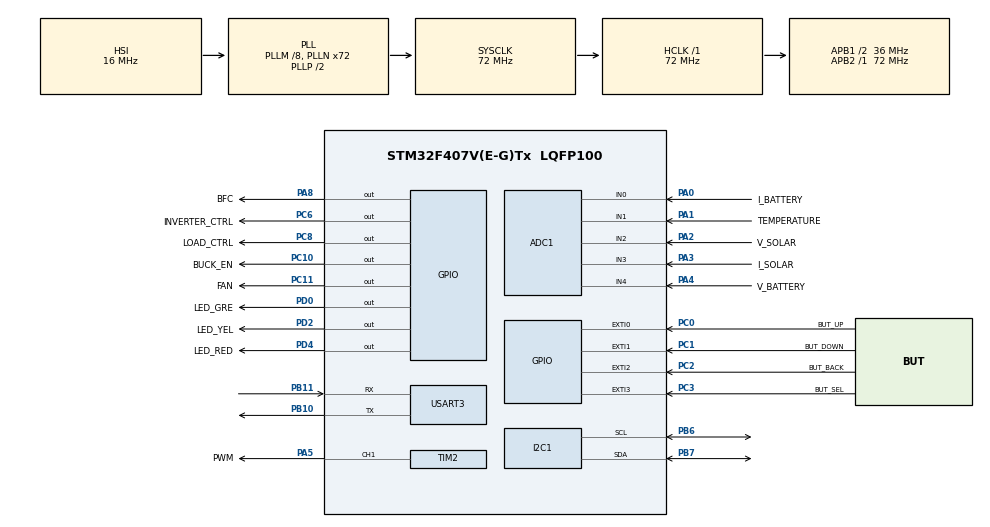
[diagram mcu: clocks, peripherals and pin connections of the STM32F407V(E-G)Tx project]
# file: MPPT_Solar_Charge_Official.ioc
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ADC1.Channel-0\#ChannelRegularConversion=ADC_CHANNEL_0
ADC1.Channel-1\#ChannelRegularConversion=ADC_CHANNEL_1
ADC1.Channel-2\#ChannelRegularConversion=ADC_CHANNEL_2
ADC1.Channel-3\#ChannelRegularConversion=ADC_CHANNEL_3
ADC1.Channel-4\#ChannelRegularConversion=ADC_CHANNEL_4
ADC1.ClockPrescaler=ADC_CLOCK_SYNC_PCLK_DIV8
ADC1.ContinuousConvMode=ENABLE
ADC1.EOCSelection=ADC_EOC_SEQ_CONV
ADC1.NbrOfConversion=5
ADC1.NbrOfConversionFlag=1
ADC1.Rank-0\#ChannelRegularConversion=1
ADC1.Rank-1\#ChannelRegularConversion=2
ADC1.Rank-2\#ChannelRegularConversion=3
ADC1.Rank-3\#ChannelRegularConversion=4
ADC1.Rank-4\#ChannelRegularConversion=5
ADC1.SamplingTime-0\#ChannelRegularConversion=ADC_SAMPLETIME_480CYCLES
ADC1.SamplingTime-1\#ChannelRegularConversion=ADC_SAMPLETIME_480CYCLES
ADC1.SamplingTime-2\#ChannelRegularConversion=ADC_SAMPLETIME_480CYCLES
ADC1.SamplingTime-3\#ChannelRegularConversion=ADC_SAMPLETIME_480CYCLES
ADC1.SamplingTime-4\#ChannelRegularConversion=ADC_SAMPLETIME_480CYCLES
ADC1.ScanConvMode=ENABLE
ADC1.master=1
Dma.ADC1.0.Direction=DMA_PERIPH_TO_MEMORY
Dma.ADC1.0.FIFOMode=DMA_FIFOMODE_DISABLE
Dma.ADC1.0.Instance=DMA2_Stream0
Dma.ADC1.0.MemDataAlignment=DMA_MDATAALIGN_WORD
Dma.ADC1.0.MemInc=DMA_MINC_ENABLE
Dma.ADC1.0.Mode=DMA_CIRCULAR
Dma.ADC1.0.PeriphDataAlignment=DMA_PDATAALIGN_WORD
Dma.ADC1.0.PeriphInc=DMA_PINC_DISABLE
Dma.ADC1.0.Priority=DMA_PRIORITY_LOW
Dma.Request0=ADC1
IWDG.Prescaler=IWDG_PRESCALER_64
IWDG.Reload=4095
Mcu.Family=STM32F4
Mcu.Name=STM32F407V(E-G)Tx
Mcu.Package=LQFP100
NVIC.DMA2_Stream0_IRQn=true\:0\:0\:false\:false\:true\:false\:true\:true
NVIC.EXTI0_IRQn=true\:0\:0\:false\:false\:true\:true\:true\:true
NVIC.EXTI1_IRQn=true\:0\:0\:false\:false\:true\:true\:true\:true
NVIC.EXTI2_IRQn=true\:0\:0\:false\:false\:true\:true\:true\:true
NVIC.EXTI3_IRQn=true\:0\:0\:false\:false\:true\:true\:true\:true
NVIC.PriorityGroup=NVIC_PRIORITYGROUP_4
PA0-WKUP.GPIO_Label=I_BATTERY
PA0-WKUP.Signal=ADCx_IN0
PA1.GPIO_Label=TEMPERATURE
PA1.Signal=ADCx_IN1
PA13.Mode=Serial_Wire
PA13.Signal=SYS_JTMS-SWDIO
PA14.Mode=Serial_Wire
PA14.Signal=SYS_JTCK-SWCLK
PA2.GPIO_Label=V_SOLAR
PA2.Signal=ADCx_IN2
PA3.GPIO_Label=I_SOLAR
PA3.Signal=ADCx_IN3
PA4.GPIO_Label=V_BATTERY
PA4.Signal=ADCx_IN4
PA5.GPIO_Label=PWM
PA5.Signal=S_TIM2_CH1_ETR
PA8.GPIO_Label=BFC
PA8.PinState=GPIO_PIN_SET
PA8.Signal=GPIO_Output
PB10.Mode=Asynchronous
PB10.Signal=USART3_TX
PB11.Mode=Asynchronous
PB11.Signal=USART3_RX
PB6.Mode=I2C
PB6.Signal=I2C1_SCL
PB7.Mode=I2C
PB7.Signal=I2C1_SDA
PC0.GPIO_Label=BUT_UP
PC0.GPIO_ModeDefaultEXTI=GPIO_MODE_IT_FALLING
PC0.GPIO_PuPd=GPIO_PULLUP
PC0.Signal=GPXTI0
PC1.GPIO_Label=BUT_DOWN
PC1.GPIO_ModeDefaultEXTI=GPIO_MODE_IT_FALLING
PC1.GPIO_PuPd=GPIO_PULLUP
PC1.Signal=GPXTI1
PC10.GPIO_Label=BUCK_EN
PC10.PinState=GPIO_PIN_SET
PC10.Signal=GPIO_Output
PC11.GPIO_Label=FAN
PC11.PinState=GPIO_PIN_SET
PC11.Signal=GPIO_Output
PC2.GPIO_Label=BUT_BACK
PC2.GPIO_ModeDefaultEXTI=GPIO_MODE_IT_FALLING
PC2.GPIO_PuPd=GPIO_PULLUP
PC2.Signal=GPXTI2
PC3.GPIO_Label=BUT_SEL
PC3.GPIO_ModeDefaultEXTI=GPIO_MODE_IT_FALLING
PC3.GPIO_PuPd=GPIO_PULLUP
PC3.Signal=GPXTI3
PC6.GPIO_Label=INVERTER_CTRL
PC6.PinState=GPIO_PIN_SET
PC6.Signal=GPIO_Output
PC8.GPIO_Label=LOAD_CTRL
PC8.PinState=GPIO_PIN_SET
PC8.Signal=GPIO_Output
PD0.GPIO_Label=LED_GRE
PD0.PinState=GPIO_PIN_SET
PD0.Signal=GPIO_Output
PD2.GPIO_Label=LED_YEL
PD2.PinState=GPIO_PIN_SET
PD2.Signal=GPIO_Output
PD4.GPIO_Label=LED_RED
PD4.PinState=GPIO_PIN_SET
PD4.Signal=GPIO_Output
ProjectManager.HeapSize=0x200
ProjectManager.StackSize=0x400
ProjectManager.TargetToolchain=STM32CubeIDE
RCC.48MHZClocksFreq_Value=36000000
RCC.AHBFreq_Value=72000000
RCC.APB1CLKDivider=RCC_HCLK_DIV2
RCC.APB1Freq_Value=36000000
RCC.APB1TimFreq_Value=72000000
RCC.APB2Freq_Value=72000000
RCC.APB2TimFreq_Value=72000000
RCC.CortexFreq_Value=72000000
RCC.HCLKFreq_Value=72000000
RCC.HSE_VALUE=25000000
RCC.HSI_VALUE=16000000
RCC.LSE_VALUE=32768
RCC.PLLM=8
RCC.PLLN=72
RCC.SYSCLKFreq_VALUE=72000000
RCC.SYSCLKSource=RCC_SYSCLKSOURCE_PLLCLK
RCC.VCOOutputFreq_Value=144000000
RTC.SynchPrediv=249
SH.ADCx_IN0.0=ADC1_IN0,IN0
SH.ADCx_IN1.0=ADC1_IN1,IN1
SH.ADCx_IN2.0=ADC1_IN2,IN2
SH.ADCx_IN3.0=ADC1_IN3,IN3
SH.ADCx_IN4.0=ADC1_IN4,IN4
SH.S_TIM2_CH1_ETR.0=TIM2_CH1,PWM Generation1 CH1
TIM2.AutoReloadPreload=TIM_AUTORELOAD_PRELOAD_ENABLE
TIM2.Channel-PWM\ Generation1\ CH1=TIM_CHANNEL_1
TIM2.Period=3600
USART3.VirtualMode=VM_ASYNC
VP_IWDG_VS_IWDG.Mode=IWDG_Activate
VP_RTC_VS_RTC_Activate.Mode=RTC_Enabled
VP_RTC_VS_RTC_Calendar.Mode=RTC_Calendar
VP_TIM2_VS_ClockSourceINT.Mode=Internal
board=custom

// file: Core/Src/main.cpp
/* USER CODE BEGIN Header */
/**
 ******************************************************************************
 * @file           : main.c
 * @brief          : Main program body
 ******************************************************************************
 * @attention
 *
 * Copyright (c) 2024 STMicroelectronics.
 * All rights reserved.
 *
 * This software is licensed under terms that can be found in the LICENSE file
 * in the root directory of this software component.
 * If no LICENSE file comes with this software, it is provided AS-IS.
 *
 ******************************************************************************
 */
/* USER CODE END Header */
#include "main.h"

/* USER CODE BEGIN Includes */
#include "Log.h"
#include "Button.h"
#include "Analog.h"
#include "ChargeControl.h"
#include "SerialMonitor.h"
#include "TestLcd.h"
#include "Rtc.h"
/* USER CODE END Includes */

ADC_HandleTypeDef hadc1;
DMA_HandleTypeDef hdma_adc1;

I2C_HandleTypeDef hi2c1;

IWDG_HandleTypeDef hiwdg;

RTC_HandleTypeDef hrtc;

TIM_HandleTypeDef htim2;

UART_HandleTypeDef huart3;

void SystemClock_Config(void);
static void MX_GPIO_Init(void);
static void MX_DMA_Init(void);
static void MX_ADC1_Init(void);
static void MX_IWDG_Init(void);
static void MX_I2C1_Init(void);
static void MX_TIM2_Init(void);
static void MX_USART3_UART_Init(void);
static void MX_RTC_Init(void);
/* USER CODE BEGIN PFP */
void HAL_GPIO_EXTI_Callback(uint16_t GPIO_pin)
{
    GPIO_TypeDef *pGPIOx = nullptr;
    static blib::Button::ButtonName lastedPressButton = blib::Button::ButtonName::UNDEFINED;
    uint32_t timedelay = 1440000;

    for (volatile uint32_t i = 0; i < timedelay; i++);

    volatile uint32_t i = 0;

    if (GPIO_pin == BUT_UP_Pin)
    {
        LOGI("Button Up pin");
        lastedPressButton = blib::Button::ButtonName::UP;
        pGPIOx = BUT_UP_GPIO_Port;
    }
    else if (GPIO_pin == BUT_DOWN_Pin)
    {
        LOGI("Button Down pin");
        lastedPressButton = blib::Button::ButtonName::DOWN;
        pGPIOx = BUT_DOWN_GPIO_Port;
    }
    else if (GPIO_pin == BUT_BACK_Pin)
    {
        LOGI("Button Back pin");
        lastedPressButton = blib::Button::ButtonName::BACK;
        pGPIOx = BUT_BACK_GPIO_Port;
    }
    else if (GPIO_pin == BUT_SEL_Pin)
    {
        LOGI("Button Select pin");
        lastedPressButton = blib::Button::ButtonName::SEL;
        pGPIOx = BUT_SEL_GPIO_Port;
    }
    else
    {
        LOGI("Undefined Exti Signal");
    }

    blib::Button::getInstance().setLatestPressedButton(lastedPressButton);
    blib::Button::getInstance().handleSignal();

    if (pGPIOx != nullptr)
    {
        while ((HAL_GPIO_ReadPin(pGPIOx, GPIO_pin) == GPIO_PIN_RESET) && (i < (timedelay)))
        {
            i++;
        }
    }

    for (volatile uint32_t i = 0; i < timedelay; i++);

    __HAL_GPIO_EXTI_CLEAR_FLAG(GPIO_pin);
}

void HAL_ADC_ConvCpltCallback(ADC_HandleTypeDef *hadc)
{
    blib::Analog::getInstance().sampling();
}

/* USER CODE END PFP */

int main(void)
{

    /* MCU Configuration--------------------------------------------------------*/

    /* Reset of all peripherals, Initializes the Flash interface and the Systick. */
    HAL_Init();

    /* Configure the system clock */
    SystemClock_Config();

    /* Initialize all configured peripherals */
    MX_GPIO_Init();
    MX_DMA_Init();
    MX_ADC1_Init();
    MX_IWDG_Init();
    MX_I2C1_Init();
    MX_TIM2_Init();
    MX_USART3_UART_Init();
    MX_RTC_Init();
    /* USER CODE BEGIN 2 */
    LOGI("MPPT SOLAR CHARGE CONTROLLER");
    LOGI("DESIGNED BY ");
    LOGI("STARTING DEVICE...");

    blib::Rtc rtc;
    rtc.setTime(0, 0, 1, 5, 24);

    auto &analog = blib::Analog::getInstance();
    auto &devProtection = blib::DeviceProtection::getInstance();
    auto &chargeCtrl = blib::ChargeControl::getInstance();
    auto &lcdSimulate = blib::LcdSimulate::getInstance();
    auto &serialMnt = blib::SerialMonitor::getInstance();
    /* USER CODE END 2 */

    /* Infinite loop */
    while (1)
    {

        /* USER CODE BEGIN 3 */
        analog.readAnalog();
        devProtection.run();
        chargeCtrl.run();
        serialMnt.show();
        lcdSimulate.run();
        HAL_Delay(500);
        HAL_IWDG_Refresh(&hiwdg);
    }
    /* USER CODE END 3 */
}

void SystemClock_Config(void)
{
    RCC_OscInitTypeDef RCC_OscInitStruct = { 0 };
    RCC_ClkInitTypeDef RCC_ClkInitStruct = { 0 };

    /** Configure the main internal regulator output voltage
     */
    __HAL_RCC_PWR_CLK_ENABLE();
    __HAL_PWR_VOLTAGESCALING_CONFIG(PWR_REGULATOR_VOLTAGE_SCALE1);

    /** Initializes the RCC Oscillators according to the specified parameters
     * in the RCC_OscInitTypeDef structure.
     */
    RCC_OscInitStruct.OscillatorType = RCC_OSCILLATORTYPE_HSI | RCC_OSCILLATORTYPE_LSI;
    RCC_OscInitStruct.HSIState = RCC_HSI_ON;
    RCC_OscInitStruct.HSICalibrationValue = RCC_HSICALIBRATION_DEFAULT;
    RCC_OscInitStruct.LSIState = RCC_LSI_ON;
    RCC_OscInitStruct.PLL.PLLState = RCC_PLL_ON;
    RCC_OscInitStruct.PLL.PLLSource = RCC_PLLSOURCE_HSI;
    RCC_OscInitStruct.PLL.PLLM = 8;
    RCC_OscInitStruct.PLL.PLLN = 72;
    RCC_OscInitStruct.PLL.PLLP = RCC_PLLP_DIV2;
    RCC_OscInitStruct.PLL.PLLQ = 4;
    if (HAL_RCC_OscConfig(&RCC_OscInitStruct) != HAL_OK)
    {
        Error_Handler();
    }

    /** Initializes the CPU, AHB and APB buses clocks
     */
    RCC_ClkInitStruct.ClockType = RCC_CLOCKTYPE_HCLK | RCC_CLOCKTYPE_SYSCLK | RCC_CLOCKTYPE_PCLK1
            | RCC_CLOCKTYPE_PCLK2;
    RCC_ClkInitStruct.SYSCLKSource = RCC_SYSCLKSOURCE_PLLCLK;
    RCC_ClkInitStruct.AHBCLKDivider = RCC_SYSCLK_DIV1;
    RCC_ClkInitStruct.APB1CLKDivider = RCC_HCLK_DIV2;
    RCC_ClkInitStruct.APB2CLKDivider = RCC_HCLK_DIV1;

    if (HAL_RCC_ClockConfig(&RCC_ClkInitStruct, FLASH_LATENCY_2) != HAL_OK)
    {
        Error_Handler();
    }
}

static void MX_ADC1_Init(void)
{

    ADC_ChannelConfTypeDef sConfig = { 0 };

    /** Configure the global features of the ADC (Clock, Resolution, Data Alignment and number of conversion)
     */
    hadc1.Instance = ADC1;
    hadc1.Init.ClockPrescaler = ADC_CLOCK_SYNC_PCLK_DIV8;
    hadc1.Init.Resolution = ADC_RESOLUTION_12B;
    hadc1.Init.ScanConvMode = ENABLE;
    hadc1.Init.ContinuousConvMode = ENABLE;
    hadc1.Init.DiscontinuousConvMode = DISABLE;
    hadc1.Init.ExternalTrigConvEdge = ADC_EXTERNALTRIGCONVEDGE_NONE;
    hadc1.Init.ExternalTrigConv = ADC_SOFTWARE_START;
    hadc1.Init.DataAlign = ADC_DATAALIGN_RIGHT;
    hadc1.Init.NbrOfConversion = 5;
    hadc1.Init.DMAContinuousRequests = DISABLE;
    hadc1.Init.EOCSelection = ADC_EOC_SEQ_CONV;
    if (HAL_ADC_Init(&hadc1) != HAL_OK)
    {
        Error_Handler();
    }

    /** Configure for the selected ADC regular channel its corresponding rank in the sequencer and its sample time.
     */
    sConfig.Channel = ADC_CHANNEL_0;
    sConfig.Rank = 1;
    sConfig.SamplingTime = ADC_SAMPLETIME_480CYCLES;
    if (HAL_ADC_ConfigChannel(&hadc1, &sConfig) != HAL_OK)
    {
        Error_Handler();
    }

    /** Configure for the selected ADC regular channel its corresponding rank in the sequencer and its sample time.
     */
    sConfig.Channel = ADC_CHANNEL_1;
    sConfig.Rank = 2;
    if (HAL_ADC_ConfigChannel(&hadc1, &sConfig) != HAL_OK)
    {
        Error_Handler();
    }

    /** Configure for the selected ADC regular channel its corresponding rank in the sequencer and its sample time.
     */
    sConfig.Channel = ADC_CHANNEL_2;
    sConfig.Rank = 3;
    if (HAL_ADC_ConfigChannel(&hadc1, &sConfig) != HAL_OK)
    {
        Error_Handler();
    }

    /** Configure for the selected ADC regular channel its corresponding rank in the sequencer and its sample time.
     */
    sConfig.Channel = ADC_CHANNEL_3;
    sConfig.Rank = 4;
    if (HAL_ADC_ConfigChannel(&hadc1, &sConfig) != HAL_OK)
    {
        Error_Handler();
    }

    /** Configure for the selected ADC regular channel its corresponding rank in the sequencer and its sample time.
     */
    sConfig.Channel = ADC_CHANNEL_4;
    sConfig.Rank = 5;
    if (HAL_ADC_ConfigChannel(&hadc1, &sConfig) != HAL_OK)
    {
        Error_Handler();
    }

}

static void MX_I2C1_Init(void)
{

    hi2c1.Instance = I2C1;
    hi2c1.Init.ClockSpeed = 100000;
    hi2c1.Init.DutyCycle = I2C_DUTYCYCLE_2;
    hi2c1.Init.OwnAddress1 = 0;
    hi2c1.Init.AddressingMode = I2C_ADDRESSINGMODE_7BIT;
    hi2c1.Init.DualAddressMode = I2C_DUALADDRESS_DISABLE;
    hi2c1.Init.OwnAddress2 = 0;
    hi2c1.Init.GeneralCallMode = I2C_GENERALCALL_DISABLE;
    hi2c1.Init.NoStretchMode = I2C_NOSTRETCH_DISABLE;
    if (HAL_I2C_Init(&hi2c1) != HAL_OK)
    {
        Error_Handler();
    }

}

static void MX_IWDG_Init(void)
{

    hiwdg.Instance = IWDG;
    hiwdg.Init.Prescaler = IWDG_PRESCALER_64;
    hiwdg.Init.Reload = 4095;
    if (HAL_IWDG_Init(&hiwdg) != HAL_OK)
    {
        Error_Handler();
    }

}

static void MX_RTC_Init(void)
{

    RTC_TimeTypeDef sTime = { 0 };
    RTC_DateTypeDef sDate = { 0 };

    /** Initialize RTC Only
     */
    hrtc.Instance = RTC;
    hrtc.Init.HourFormat = RTC_HOURFORMAT_24;
    hrtc.Init.AsynchPrediv = 127;
    hrtc.Init.SynchPrediv = 249;
    hrtc.Init.OutPut = RTC_OUTPUT_DISABLE;
    hrtc.Init.OutPutPolarity = RTC_OUTPUT_POLARITY_HIGH;
    hrtc.Init.OutPutType = RTC_OUTPUT_TYPE_OPENDRAIN;
    if (HAL_RTC_Init(&hrtc) != HAL_OK)
    {
        Error_Handler();
    }

    /** Initialize RTC and set the Time and Date
     */
    sTime.Hours = 0x0;
    sTime.Minutes = 0x0;
    sTime.Seconds = 0x0;
    sTime.DayLightSaving = RTC_DAYLIGHTSAVING_NONE;
    sTime.StoreOperation = RTC_STOREOPERATION_RESET;
    if (HAL_RTC_SetTime(&hrtc, &sTime, RTC_FORMAT_BCD) != HAL_OK)
    {
        Error_Handler();
    }
    sDate.WeekDay = RTC_WEEKDAY_MONDAY;
    sDate.Month = RTC_MONTH_JANUARY;
    sDate.Date = 0x1;
    sDate.Year = 0x0;

    if (HAL_RTC_SetDate(&hrtc, &sDate, RTC_FORMAT_BCD) != HAL_OK)
    {
        Error_Handler();
    }

}

static void MX_TIM2_Init(void)
{

    TIM_ClockConfigTypeDef sClockSourceConfig = { 0 };
    TIM_MasterConfigTypeDef sMasterConfig = { 0 };
    TIM_OC_InitTypeDef sConfigOC = { 0 };

    htim2.Instance = TIM2;
    htim2.Init.Prescaler = 0;
    htim2.Init.CounterMode = TIM_COUNTERMODE_UP;
    htim2.Init.Period = 3600;
    htim2.Init.ClockDivision = TIM_CLOCKDIVISION_DIV1;
    htim2.Init.AutoReloadPreload = TIM_AUTORELOAD_PRELOAD_ENABLE;
    if (HAL_TIM_Base_Init(&htim2) != HAL_OK)
    {
        Error_Handler();
    }
    sClockSourceConfig.ClockSource = TIM_CLOCKSOURCE_INTERNAL;
    if (HAL_TIM_ConfigClockSource(&htim2, &sClockSourceConfig) != HAL_OK)
    {
        Error_Handler();
    }
    if (HAL_TIM_PWM_Init(&htim2) != HAL_OK)
    {
        Error_Handler();
    }
    sMasterConfig.MasterOutputTrigger = TIM_TRGO_RESET;
    sMasterConfig.MasterSlaveMode = TIM_MASTERSLAVEMODE_DISABLE;
    if (HAL_TIMEx_MasterConfigSynchronization(&htim2, &sMasterConfig) != HAL_OK)
    {
        Error_Handler();
    }
    sConfigOC.OCMode = TIM_OCMODE_PWM1;
    sConfigOC.Pulse = 0;
    sConfigOC.OCPolarity = TIM_OCPOLARITY_HIGH;
    sConfigOC.OCFastMode = TIM_OCFAST_DISABLE;
    if (HAL_TIM_PWM_ConfigChannel(&htim2, &sConfigOC, TIM_CHANNEL_1) != HAL_OK)
    {
        Error_Handler();
    }
    HAL_TIM_MspPostInit(&htim2);

}

static void MX_USART3_UART_Init(void)
{

    huart3.Instance = USART3;
    huart3.Init.BaudRate = 115200;
    huart3.Init.WordLength = UART_WORDLENGTH_8B;
    huart3.Init.StopBits = UART_STOPBITS_1;
    huart3.Init.Parity = UART_PARITY_NONE;
    huart3.Init.Mode = UART_MODE_TX_RX;
    huart3.Init.HwFlowCtl = UART_HWCONTROL_NONE;
    huart3.Init.OverSampling = UART_OVERSAMPLING_16;
    if (HAL_UART_Init(&huart3) != HAL_OK)
    {
        Error_Handler();
    }

}

static void MX_DMA_Init(void)
{

    /* DMA controller clock enable */
    __HAL_RCC_DMA2_CLK_ENABLE();

    /* DMA interrupt init */
    /* DMA2_Stream0_IRQn interrupt configuration */
    HAL_NVIC_SetPriority(DMA2_Stream0_IRQn, 0, 0);
    HAL_NVIC_EnableIRQ(DMA2_Stream0_IRQn);

}

static void MX_GPIO_Init(void)
{
    GPIO_InitTypeDef GPIO_InitStruct = { 0 };

    /* GPIO Ports Clock Enable */
    __HAL_RCC_GPIOC_CLK_ENABLE();
    __HAL_RCC_GPIOA_CLK_ENABLE();
    __HAL_RCC_GPIOB_CLK_ENABLE();
    __HAL_RCC_GPIOD_CLK_ENABLE();

    /*Configure GPIO pin Output Level */
    HAL_GPIO_WritePin(GPIOC, INVERTER_CTRL_Pin | LOAD_CTRL_Pin | BUCK_EN_Pin | FAN_Pin,
            GPIO_PIN_SET);

    /*Configure GPIO pin Output Level */
    HAL_GPIO_WritePin(BFC_GPIO_Port, BFC_Pin, GPIO_PIN_SET);

    /*Configure GPIO pin Output Level */
    HAL_GPIO_WritePin(GPIOD, LED_GRE_Pin | LED_YEL_Pin | LED_RED_Pin, GPIO_PIN_SET);

    /*Configure GPIO pins : BUT_UP_Pin BUT_DOWN_Pin BUT_BACK_Pin BUT_SEL_Pin */
    GPIO_InitStruct.Pin = BUT_UP_Pin | BUT_DOWN_Pin | BUT_BACK_Pin | BUT_SEL_Pin;
    GPIO_InitStruct.Mode = GPIO_MODE_IT_FALLING;
    GPIO_InitStruct.Pull = GPIO_PULLUP;
    HAL_GPIO_Init(GPIOC, &GPIO_InitStruct);

    /*Configure GPIO pins : INVERTER_CTRL_Pin LOAD_CTRL_Pin BUCK_EN_Pin FAN_Pin */
    GPIO_InitStruct.Pin = INVERTER_CTRL_Pin | LOAD_CTRL_Pin | BUCK_EN_Pin | FAN_Pin;
    GPIO_InitStruct.Mode = GPIO_MODE_OUTPUT_PP;
    GPIO_InitStruct.Pull = GPIO_NOPULL;
    GPIO_InitStruct.Speed = GPIO_SPEED_FREQ_LOW;
    HAL_GPIO_Init(GPIOC, &GPIO_InitStruct);

    /*Configure GPIO pin : BFC_Pin */
    GPIO_InitStruct.Pin = BFC_Pin;
    GPIO_InitStruct.Mode = GPIO_MODE_OUTPUT_PP;
    GPIO_InitStruct.Pull = GPIO_NOPULL;
    GPIO_InitStruct.Speed = GPIO_SPEED_FREQ_LOW;
    HAL_GPIO_Init(BFC_GPIO_Port, &GPIO_InitStruct);

    /*Configure GPIO pins : LED_GRE_Pin LED_YEL_Pin LED_RED_Pin */
    GPIO_InitStruct.Pin = LED_GRE_Pin | LED_YEL_Pin | LED_RED_Pin;
    GPIO_InitStruct.Mode = GPIO_MODE_OUTPUT_PP;
    GPIO_InitStruct.Pull = GPIO_NOPULL;
    GPIO_InitStruct.Speed = GPIO_SPEED_FREQ_LOW;
    HAL_GPIO_Init(GPIOD, &GPIO_InitStruct);

    /* EXTI interrupt init*/
    HAL_NVIC_SetPriority(EXTI0_IRQn, 0, 0);
    HAL_NVIC_EnableIRQ(EXTI0_IRQn);

    HAL_NVIC_SetPriority(EXTI1_IRQn, 0, 0);
    HAL_NVIC_EnableIRQ(EXTI1_IRQn);

    HAL_NVIC_SetPriority(EXTI2_IRQn, 0, 0);
    HAL_NVIC_EnableIRQ(EXTI2_IRQn);

    HAL_NVIC_SetPriority(EXTI3_IRQn, 0, 0);
    HAL_NVIC_EnableIRQ(EXTI3_IRQn);

}

void Error_Handler(void)
{
    __disable_irq();
    while (1)
    {
    }
}
